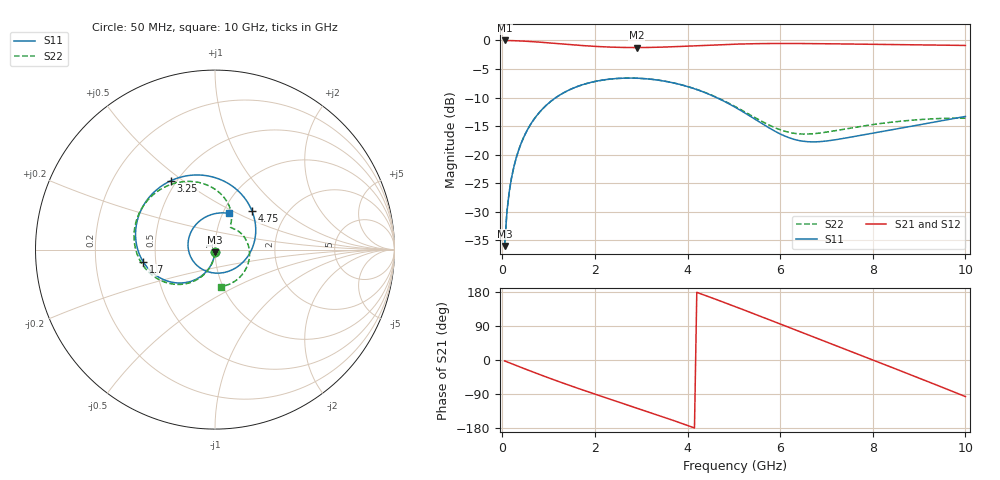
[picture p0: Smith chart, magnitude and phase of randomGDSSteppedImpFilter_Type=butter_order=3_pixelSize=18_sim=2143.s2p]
! freq	dB(S11)	phase(S11)	dB(S12)	phase(S12)
!  dB(S21)	phase(S21)	dB(S22)	phase(S22)
!S-par simulation data
#  GHz  S  DB  R 50
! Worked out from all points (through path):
!   200 points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, 50 MHz to 10 GHz, reference 50 ohm
!   highest |S21| = 0.00 dB at 50 MHz (marker M1); lowest = -1.2 dB at 2.9 GHz (marker M2)
!   group delay of S21, straight-line fit = 126 ps
!   lowest |S11| = -36.0 dB at 50 MHz (marker M3), VSWR 1.03, Z = 49.9 - j1.58 ohm
!   |S11| at or under -10 dB: start of sweep to 1.157 GHz; 4.625 GHz to end of sweep
!   |S22| runs from -36.0 to -6.6 dB; largest |S21 - S12| = 0
!   S11 on the Smith chart (normalised r, x): 50 MHz: 1.00, -0.03; 1.7 GHz: 0.43, -0.07; 3.25 GHz: 0.47, +0.45; 4.75 GHz: 1.34, +0.64; 10 GHz: 1.07, +0.45
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0.05  -35.98 -92.5  -0.00 -2.4  -0.00 -2.4  -36.01 -92.3
0.1  -29.98 -95.2  -0.01 -4.9  -0.01 -4.9  -30.00 -94.9
0.2  -24.02 -100.3  -0.03 -9.7  -0.03 -9.7  -24.02 -99.8
0.5  -16.31 -115.1  -0.14 -24.0  -0.14 -24.0  -16.31 -114.0
1.1  -10.33 -143.6  -0.49 -51.6  -0.49 -51.6  -10.33 -140.9
1.7  -7.84 -170.4  -0.88 -77.6  -0.88 -77.6  -7.84 -166.0
1.75  -7.71 -172.6  -0.91 -79.7  -0.91 -79.7  -7.71 -168.0
2.3  -6.79 163.8  -1.15 -102.3  -1.15 -102.3  -6.79 170.4
2.9  -6.61 138.0  -1.24 -126.6  -1.24 -126.6  -6.61 147.7
3.25  -6.83 122.5  -1.21 -140.9  -1.21 -140.9  -6.82 134.6
3.4  -6.99 115.7  -1.18 -147.2  -1.18 -147.2  -6.98 129.0
4.1  -8.32 82.1  -0.96 -177.1  -0.96 -177.1  -8.30 103.5
4.75  -10.49 46.6  -0.73 153.7  -0.73 153.7  -10.42 81.6
5.05  -11.79 28.2  -0.65 139.9  -0.65 139.9  -11.67 73.1
5.9  -15.94 -35.1  -0.53 99.9  -0.53 99.9  -15.32 58.8
6.3  -17.31 -70.8  -0.53 80.9  -0.53 80.9  -16.25 56.5
6.7  -17.75 -106.3  -0.56 61.9  -0.56 61.9  -16.34 52.7
7.55  -16.88 -167.8  -0.63 21.5  -0.63 21.5  -15.29 30.6
7.95  -16.30 169.0  -0.67 2.5  -0.67 2.5  -14.78 15.2
8.35  -15.73 147.9  -0.71 -16.6  -0.71 -16.6  -14.36 -1.9
9.25  -14.40 103.7  -0.80 -59.9  -0.80 -59.9  -13.73 -43.1
10  -13.31 69.4  -0.88 -96.5  -0.88 -96.5  -13.61 -80.7
